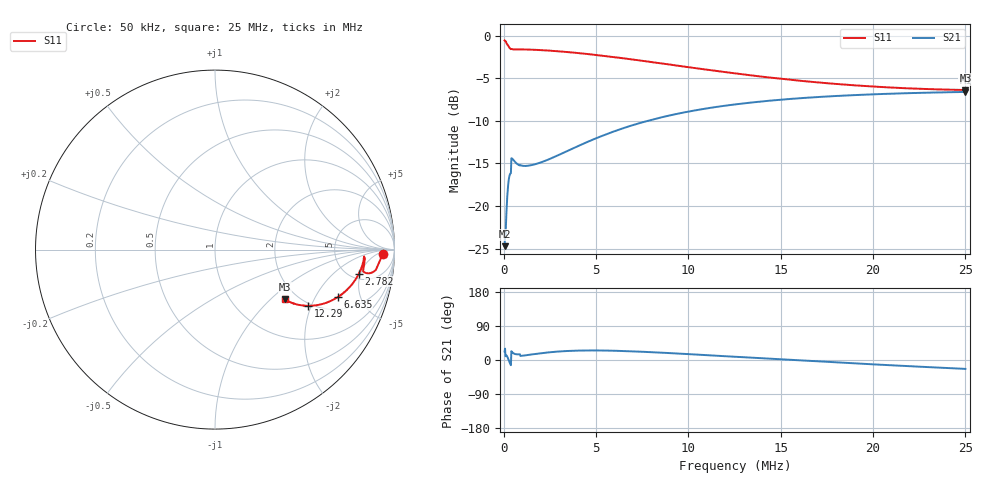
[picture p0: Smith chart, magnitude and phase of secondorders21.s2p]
# Hz S RI R 50
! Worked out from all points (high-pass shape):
!   1024 points, 50 kHz to 25 MHz, reference 50 ohm
!   highest |S21| = -6.60 dB at 25 MHz (marker M1); lowest = -24.7 dB at 50 kHz (marker M2)
!   |S21| within 3 dB of the highest: 8.521 MHz to end of sweep
!   lowest |S11| = -6.4 dB at 25 MHz (marker M3), VSWR 2.85, Z = 86 - j62.1 ohm
!   |S11| at or under -10 dB: nowhere
!   S12 and S22 are empty: the file has one direction only
!   S11 on the Smith chart (normalised r, x): 50 kHz: 27, -11; 2.782 MHz: 5.93, -4.68; 6.635 MHz: 2.72, -3.11; 12.29 MHz: 1.92, -1.90; 25 MHz: 1.72, -1.24
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50000  0.9377 -0.024  0.0537 0.0222  0 0  0 0
98778  0.9278 -0.0413  0.0654 0.0114  0 0  0 0
196334  0.8802 -0.1254  0.1137 0.0174  0 0  0 0
269501  0.8529 -0.1322  0.1413 -0.000612  0 0  0 0
318280  0.8384 -0.1297  0.1501 -0.0166  0 0  0 0
367058  0.8282 -0.124  0.1522 -0.031  0 0  0 0
415836  0.8354 -0.0497  0.1753 0.0752  0 0  0 0
537781  0.8315 -0.0414  0.1771 0.0557  0 0  0 0
854839  0.8306 -0.0446  0.168 0.0448  0 0  0 0
1025562  0.8293 -0.0504  0.169 0.034  0 0  0 0
1269453  0.8276 -0.0614  0.1679 0.0387  0 0  0 0
1952346  0.8179 -0.0949  0.1711 0.0539  0 0  0 0
2781574  0.8017 -0.1338  0.1813 0.072  0 0  0 0
4220528  0.7631 -0.1942  0.2083 0.097  0 0  0 0
6635044  0.6838 -0.2647  0.2662 0.1153  0 0  0 0
8366667  0.6263 -0.2936  0.3087 0.111  0 0  0 0
1.026901e7  0.5687 -0.3095  0.3507 0.0926  0 0  0 0
1.22933e7  0.5181 -0.3137  0.387 0.0624  0 0  0 0
1.25372e7  0.5128 -0.3136  0.3908 0.0583  0 0  0 0
1.670772e7  0.4425 -0.3017  0.4336 -0.0225  0 0  0 0
2.085386e7  0.4064 -0.2865  0.4432 -0.1069  0 0  0 0
2.5e7  0.3915 -0.2776  0.429 -0.1862  0 0  0 0
